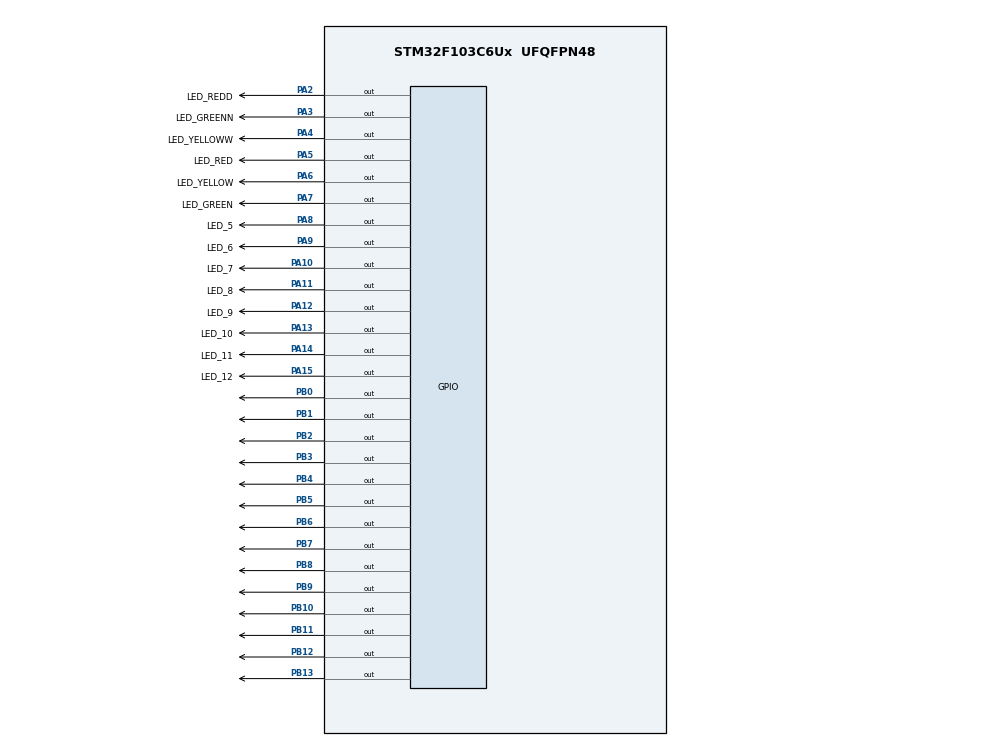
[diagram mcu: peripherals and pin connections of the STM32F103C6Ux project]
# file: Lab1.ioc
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Mcu.Family=STM32F1
Mcu.Name=STM32F103C6Ux
Mcu.Package=UFQFPN48
NVIC.PriorityGroup=NVIC_PRIORITYGROUP_4
PA10.GPIO_Label=LED_7
PA10.Signal=GPIO_Output
PA11.GPIO_Label=LED_8
PA11.Signal=GPIO_Output
PA12.GPIO_Label=LED_9
PA12.Signal=GPIO_Output
PA13.GPIO_Label=LED_10
PA13.Signal=GPIO_Output
PA14.GPIO_Label=LED_11
PA14.Signal=GPIO_Output
PA15.GPIO_Label=LED_12
PA15.Signal=GPIO_Output
PA2.GPIO_Label=LED_REDD
PA2.Signal=GPIO_Output
PA3.GPIO_Label=LED_GREENN
PA3.Signal=GPIO_Output
PA4.GPIO_Label=LED_YELLOWW
PA4.Signal=GPIO_Output
PA5.GPIO_Label=LED_RED
PA5.Signal=GPIO_Output
PA6.GPIO_Label=LED_YELLOW
PA6.Signal=GPIO_Output
PA7.GPIO_Label=LED_GREEN
PA7.Signal=GPIO_Output
PA8.GPIO_Label=LED_5
PA8.Signal=GPIO_Output
PA9.GPIO_Label=LED_6
PA9.Signal=GPIO_Output
PB0.Signal=GPIO_Output
PB1.Signal=GPIO_Output
PB10.Signal=GPIO_Output
PB11.Signal=GPIO_Output
PB12.Signal=GPIO_Output
PB13.Signal=GPIO_Output
PB2.Signal=GPIO_Output
PB3.Signal=GPIO_Output
PB4.Signal=GPIO_Output
PB5.Signal=GPIO_Output
PB6.Signal=GPIO_Output
PB7.Signal=GPIO_Output
PB8.Signal=GPIO_Output
PB9.Signal=GPIO_Output
ProjectManager.HeapSize=0x200
ProjectManager.StackSize=0x400
ProjectManager.TargetToolchain=STM32CubeIDE
RCC.APB1Freq_Value=8000000
RCC.APB2Freq_Value=8000000
VP_SYS_VS_ND.Mode=No_Debug
board=custom

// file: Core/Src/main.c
/* USER CODE BEGIN Header */
/**
  ******************************************************************************
  * @file           : main.c
  * @brief          : Main program body
  ******************************************************************************
  * @attention
  *
  * <h2><center>&copy; Copyright (c) 2022 STMicroelectronics.
  * All rights reserved.</center></h2>
  *
  * This software component is licensed by ST under BSD 3-Clause license,
  * the "License"; You may not use this file except in compliance with the
  * License. You may obtain a copy of the License at:
  *                        opensource.org/licenses/BSD-3-Clause
  *
  ******************************************************************************
  */
/* USER CODE END Header */
#include "main.h"

void SystemClock_Config(void);
static void MX_GPIO_Init(void);

void displaySeg7A(int count_time){
	switch(count_time){

		  case 1:{
			  HAL_GPIO_WritePin(GPIOB,GPIO_PIN_13,1);
			  HAL_GPIO_WritePin(GPIOB,GPIO_PIN_7,1);
			  HAL_GPIO_WritePin(GPIOB,GPIO_PIN_8,0);
			  HAL_GPIO_WritePin(GPIOB,GPIO_PIN_9,0);
			  HAL_GPIO_WritePin(GPIOB,GPIO_PIN_10,1);
			  HAL_GPIO_WritePin(GPIOB,GPIO_PIN_11,1);
			  HAL_GPIO_WritePin(GPIOB,GPIO_PIN_12,1);
			  break ;
		  	  };
		  case 2:{
			  HAL_GPIO_WritePin(GPIOB,GPIO_PIN_7,0);
			   HAL_GPIO_WritePin(GPIOB,GPIO_PIN_9,1);
			   HAL_GPIO_WritePin(GPIOB,GPIO_PIN_10,0);
			   HAL_GPIO_WritePin(GPIOB,GPIO_PIN_11,0);
			   HAL_GPIO_WritePin(GPIOB,GPIO_PIN_13,0);
			   HAL_GPIO_WritePin(GPIOB,GPIO_PIN_8,0);
			   HAL_GPIO_WritePin(GPIOB,GPIO_PIN_12,1);
			   break ;
		  };
		  case 3: {
			  HAL_GPIO_WritePin(GPIOB,GPIO_PIN_7,0);
			  HAL_GPIO_WritePin(GPIOB,GPIO_PIN_8,0);
			  HAL_GPIO_WritePin(GPIOB,GPIO_PIN_9,0);
			  HAL_GPIO_WritePin(GPIOB,GPIO_PIN_10,0);
			  HAL_GPIO_WritePin(GPIOB,GPIO_PIN_11,1);
			  HAL_GPIO_WritePin(GPIOB,GPIO_PIN_12,1);
			  HAL_GPIO_WritePin(GPIOB,GPIO_PIN_13,0);
			  break;
		  };
		  case 4:{
			  HAL_GPIO_WritePin(GPIOB,GPIO_PIN_7,1);
			  HAL_GPIO_WritePin(GPIOB,GPIO_PIN_8,0);
			  HAL_GPIO_WritePin(GPIOB,GPIO_PIN_9,0);
			  HAL_GPIO_WritePin(GPIOB,GPIO_PIN_10,1);
			  HAL_GPIO_WritePin(GPIOB,GPIO_PIN_11,1);
			  HAL_GPIO_WritePin(GPIOB,GPIO_PIN_12,0);
			  HAL_GPIO_WritePin(GPIOB,GPIO_PIN_13,0);
			  break;
		  };
		  case 5:{
			  HAL_GPIO_WritePin(GPIOB,GPIO_PIN_7,0);
			  HAL_GPIO_WritePin(GPIOB,GPIO_PIN_8,1);
			  HAL_GPIO_WritePin(GPIOB,GPIO_PIN_9,0);
			  HAL_GPIO_WritePin(GPIOB,GPIO_PIN_10,0);
			  HAL_GPIO_WritePin(GPIOB,GPIO_PIN_11,1);
			  HAL_GPIO_WritePin(GPIOB,GPIO_PIN_12,0);
			  HAL_GPIO_WritePin(GPIOB,GPIO_PIN_13,0);

			  break;
		  };
		  case 6:{
			  HAL_GPIO_WritePin(GPIOB,GPIO_PIN_7,0);
			  HAL_GPIO_WritePin(GPIOB,GPIO_PIN_8,1);
			  HAL_GPIO_WritePin(GPIOB,GPIO_PIN_9,0);
			  HAL_GPIO_WritePin(GPIOB,GPIO_PIN_10,0);
			  HAL_GPIO_WritePin(GPIOB,GPIO_PIN_11,0);
			  HAL_GPIO_WritePin(GPIOB,GPIO_PIN_12,0);
			  HAL_GPIO_WritePin(GPIOB,GPIO_PIN_13,0);
			  break;
		  };
		  case 7:{
			  HAL_GPIO_WritePin(GPIOB,GPIO_PIN_7,0);
			  HAL_GPIO_WritePin(GPIOB,GPIO_PIN_8,0);
			  HAL_GPIO_WritePin(GPIOB,GPIO_PIN_9,0);
			  HAL_GPIO_WritePin(GPIOB,GPIO_PIN_10,1);
			  HAL_GPIO_WritePin(GPIOB,GPIO_PIN_11,1);
			  HAL_GPIO_WritePin(GPIOB,GPIO_PIN_12,1);
			  HAL_GPIO_WritePin(GPIOB,GPIO_PIN_13,1);
			  break;
		  };
		  case 8:{
			  HAL_GPIO_WritePin(GPIOB,GPIO_PIN_7,0);
			  HAL_GPIO_WritePin(GPIOB,GPIO_PIN_8,0);
			  HAL_GPIO_WritePin(GPIOB,GPIO_PIN_9,0);
			  HAL_GPIO_WritePin(GPIOB,GPIO_PIN_10,0);
			  HAL_GPIO_WritePin(GPIOB,GPIO_PIN_11,0);
			  HAL_GPIO_WritePin(GPIOB,GPIO_PIN_12,0);
			  HAL_GPIO_WritePin(GPIOB,GPIO_PIN_13,0);
			 		  break;
		  };
		  case 9:{
			  HAL_GPIO_WritePin(GPIOB,GPIO_PIN_11,1);
			  HAL_GPIO_WritePin(GPIOB,GPIO_PIN_7,0);
			  HAL_GPIO_WritePin(GPIOB,GPIO_PIN_8,0);
			  HAL_GPIO_WritePin(GPIOB,GPIO_PIN_9,0);
			  HAL_GPIO_WritePin(GPIOB,GPIO_PIN_10,0);
			  HAL_GPIO_WritePin(GPIOB,GPIO_PIN_12,0);
			  HAL_GPIO_WritePin(GPIOB,GPIO_PIN_13,0);
			  count_time=-1;
			  break;
		  };
		  default:{
			  	  	  	  HAL_GPIO_WritePin(GPIOB,GPIO_PIN_7,0);
			 			  HAL_GPIO_WritePin(GPIOB,GPIO_PIN_8,0);
			 			  HAL_GPIO_WritePin(GPIOB,GPIO_PIN_9,0);
			 			  HAL_GPIO_WritePin(GPIOB,GPIO_PIN_10,0);
			 			  HAL_GPIO_WritePin(GPIOB,GPIO_PIN_11,0);
			 			  HAL_GPIO_WritePin(GPIOB,GPIO_PIN_12,0);
			 			  HAL_GPIO_WritePin(GPIOB,GPIO_PIN_13,0);
			 			  break;
		  }
		  };
}
void displaySeg7B(int count_time){
	switch(count_time){

		  case 1:{
			  HAL_GPIO_WritePin(GPIOB,GPIO_PIN_6,1);
			  HAL_GPIO_WritePin(GPIOB,GPIO_PIN_0,1);
			  HAL_GPIO_WritePin(GPIOB,GPIO_PIN_1,0);
			  HAL_GPIO_WritePin(GPIOB,GPIO_PIN_2,0);
			  HAL_GPIO_WritePin(GPIOB,GPIO_PIN_3,1);
			  HAL_GPIO_WritePin(GPIOB,GPIO_PIN_4,1);
			  HAL_GPIO_WritePin(GPIOB,GPIO_PIN_5,1);
			  break ;
		  	  };
		  case 2:{
			  HAL_GPIO_WritePin(GPIOB,GPIO_PIN_0,0);
			   HAL_GPIO_WritePin(GPIOB,GPIO_PIN_2,1);
			   HAL_GPIO_WritePin(GPIOB,GPIO_PIN_3,0);
			   HAL_GPIO_WritePin(GPIOB,GPIO_PIN_4,0);
			   HAL_GPIO_WritePin(GPIOB,GPIO_PIN_6,0);
			   HAL_GPIO_WritePin(GPIOB,GPIO_PIN_1,0);
			   HAL_GPIO_WritePin(GPIOB,GPIO_PIN_5,1);
			   break ;
		  };
		  case 3: {
			  HAL_GPIO_WritePin(GPIOB,GPIO_PIN_0,0);
			  HAL_GPIO_WritePin(GPIOB,GPIO_PIN_1,0);
			  HAL_GPIO_WritePin(GPIOB,GPIO_PIN_2,0);
			  HAL_GPIO_WritePin(GPIOB,GPIO_PIN_3,0);
			  HAL_GPIO_WritePin(GPIOB,GPIO_PIN_4,1);
			  HAL_GPIO_WritePin(GPIOB,GPIO_PIN_5,1);
			  HAL_GPIO_WritePin(GPIOB,GPIO_PIN_6,0);
			  break;
		  };
		  case 4:{
			  HAL_GPIO_WritePin(GPIOB,GPIO_PIN_0,1);
			  HAL_GPIO_WritePin(GPIOB,GPIO_PIN_1,0);
			  HAL_GPIO_WritePin(GPIOB,GPIO_PIN_2,0);
			  HAL_GPIO_WritePin(GPIOB,GPIO_PIN_3,1);
			  HAL_GPIO_WritePin(GPIOB,GPIO_PIN_4,1);
			  HAL_GPIO_WritePin(GPIOB,GPIO_PIN_5,0);
			  HAL_GPIO_WritePin(GPIOB,GPIO_PIN_6,0);
			  break;
		  };
		  case 5:{
			  HAL_GPIO_WritePin(GPIOB,GPIO_PIN_0,0);
			  HAL_GPIO_WritePin(GPIOB,GPIO_PIN_1,1);
			  HAL_GPIO_WritePin(GPIOB,GPIO_PIN_2,0);
			  HAL_GPIO_WritePin(GPIOB,GPIO_PIN_3,0);
			  HAL_GPIO_WritePin(GPIOB,GPIO_PIN_4,1);
			  HAL_GPIO_WritePin(GPIOB,GPIO_PIN_5,0);
			  HAL_GPIO_WritePin(GPIOB,GPIO_PIN_6,0);
			  break;
		  };
		  case 6:{
			  HAL_GPIO_WritePin(GPIOB,GPIO_PIN_0,0);
			  HAL_GPIO_WritePin(GPIOB,GPIO_PIN_1,1);
			  HAL_GPIO_WritePin(GPIOB,GPIO_PIN_2,0);
			  HAL_GPIO_WritePin(GPIOB,GPIO_PIN_3,0);
			  HAL_GPIO_WritePin(GPIOB,GPIO_PIN_4,0);
			  HAL_GPIO_WritePin(GPIOB,GPIO_PIN_5,0);
			  HAL_GPIO_WritePin(GPIOB,GPIO_PIN_6,0);
			  break;
		  };
		  case 7:{
			  HAL_GPIO_WritePin(GPIOB,GPIO_PIN_0,0);
			  HAL_GPIO_WritePin(GPIOB,GPIO_PIN_1,0);
			  HAL_GPIO_WritePin(GPIOB,GPIO_PIN_2,0);
			  HAL_GPIO_WritePin(GPIOB,GPIO_PIN_3,1);
			  HAL_GPIO_WritePin(GPIOB,GPIO_PIN_4,1);
			  HAL_GPIO_WritePin(GPIOB,GPIO_PIN_5,1);
			  HAL_GPIO_WritePin(GPIOB,GPIO_PIN_6,1);
			  break;
		  };
		  case 8:{
			  HAL_GPIO_WritePin(GPIOB,GPIO_PIN_0,0);
			  HAL_GPIO_WritePin(GPIOB,GPIO_PIN_1,0);
			  HAL_GPIO_WritePin(GPIOB,GPIO_PIN_2,0);
			  HAL_GPIO_WritePin(GPIOB,GPIO_PIN_3,0);
			  HAL_GPIO_WritePin(GPIOB,GPIO_PIN_4,0);
			  HAL_GPIO_WritePin(GPIOB,GPIO_PIN_5,0);
			  HAL_GPIO_WritePin(GPIOB,GPIO_PIN_6,0);
			 		  break;
		  };
		  case 9:{
			  HAL_GPIO_WritePin(GPIOB,GPIO_PIN_4,1);
			  HAL_GPIO_WritePin(GPIOB,GPIO_PIN_0,0);
			  HAL_GPIO_WritePin(GPIOB,GPIO_PIN_1,0);
			  HAL_GPIO_WritePin(GPIOB,GPIO_PIN_2,0);
			  HAL_GPIO_WritePin(GPIOB,GPIO_PIN_3,0);
			  HAL_GPIO_WritePin(GPIOB,GPIO_PIN_5,0);
			  HAL_GPIO_WritePin(GPIOB,GPIO_PIN_6,0);
			  count_time=-1;
			  break;
		  };

		  };
}
int main(void)
{

  /* MCU Configuration--------------------------------------------------------*/

  /* Reset of all peripherals, Initializes the Flash interface and the Systick. */
  HAL_Init();

  /* Configure the system clock */
  SystemClock_Config();

  /* Initialize all configured peripherals */
  MX_GPIO_Init();

  /* Infinite loop */
  /* USER CODE BEGIN WHILE */
  int STATUS_LED_X=0;
  int STATUS_LED_Y=1;
  int COUNT_LED_X=6;
  int COUNT_LED_Y=4;
  int TIME_RED=6;
  int TIME_GREEN=4;
  int TIME_YELLOW=3;
  while (1)
  {
	  if(STATUS_LED_X==0&&COUNT_LED_X==1){STATUS_LED_X++;COUNT_LED_X=TIME_GREEN;}
	  if(STATUS_LED_X==1&&COUNT_LED_X==1){STATUS_LED_X++;COUNT_LED_X=TIME_YELLOW;}
	  if(STATUS_LED_X==2&&COUNT_LED_X==1){STATUS_LED_X=0;COUNT_LED_X=TIME_RED;}
	  if(STATUS_LED_Y==1&&COUNT_LED_Y==1){STATUS_LED_Y=2;COUNT_LED_Y=TIME_YELLOW;}
	  if(STATUS_LED_Y==2&&COUNT_LED_Y==1){STATUS_LED_Y=0;COUNT_LED_Y=TIME_RED;}
	  if(STATUS_LED_Y==0&&COUNT_LED_Y==1){STATUS_LED_Y=1;COUNT_LED_Y=TIME_GREEN;}
	  if(STATUS_LED_X==0){
		  			  HAL_GPIO_WritePin( LED_YELLOW_GPIO_Port , LED_YELLOW_Pin,1);
		  			  HAL_GPIO_WritePin( LED_GREEN_GPIO_Port , LED_GREEN_Pin,1);
		  			  HAL_GPIO_WritePin( LED_RED_GPIO_Port , LED_RED_Pin,0);

	  }
	  if(STATUS_LED_X==1){
		  			  HAL_GPIO_WritePin( LED_YELLOW_GPIO_Port , LED_YELLOW_Pin,1);
		  			  HAL_GPIO_WritePin( LED_RED_GPIO_Port , LED_RED_Pin,1);
		  			  HAL_GPIO_WritePin( LED_GREEN_GPIO_Port , LED_GREEN_Pin,0);
	  }
	  if(STATUS_LED_X==2){
	  		  			  HAL_GPIO_WritePin( LED_YELLOW_GPIO_Port , LED_YELLOW_Pin,0);
	  		  			  HAL_GPIO_WritePin( LED_RED_GPIO_Port , LED_RED_Pin,1);
	  		  			  HAL_GPIO_WritePin( LED_GREEN_GPIO_Port , LED_GREEN_Pin,1);
	  	  }
	  if(STATUS_LED_Y==0){
	 	 		  			  HAL_GPIO_WritePin( LED_YELLOWW_GPIO_Port , LED_YELLOWW_Pin,1);
	 	 		  			  HAL_GPIO_WritePin( LED_REDD_GPIO_Port , LED_REDD_Pin,0);
	 	 		  			  HAL_GPIO_WritePin( LED_GREENN_GPIO_Port , LED_GREENN_Pin,1);
	 	 	  }
	  if(STATUS_LED_Y==1){
	 		  			  HAL_GPIO_WritePin( LED_YELLOWW_GPIO_Port , LED_YELLOWW_Pin,1);
	 		  			  HAL_GPIO_WritePin( LED_REDD_GPIO_Port , LED_REDD_Pin,1);
	 		  			  HAL_GPIO_WritePin( LED_GREENN_GPIO_Port , LED_GREENN_Pin,0);
	 	  }
	  if(STATUS_LED_Y==2){
	 	 		  			  HAL_GPIO_WritePin( LED_YELLOWW_GPIO_Port , LED_YELLOWW_Pin,0);
	 	 		  			  HAL_GPIO_WritePin( LED_REDD_GPIO_Port , LED_REDD_Pin,1);
	 	 		  			  HAL_GPIO_WritePin( LED_GREENN_GPIO_Port , LED_GREENN_Pin,1);
	 	 	  }

    /* USER CODE END WHILE */
	  COUNT_LED_X--;
	  COUNT_LED_Y--;
	  displaySeg7A(COUNT_LED_Y);
	  displaySeg7B(COUNT_LED_X);
    /* USER CODE BEGIN 3 */
	  	 HAL_Delay(1000);

  }
  /* USER CODE END 3 */
}

void SystemClock_Config(void)
{
  RCC_OscInitTypeDef RCC_OscInitStruct = {0};
  RCC_ClkInitTypeDef RCC_ClkInitStruct = {0};

  /** Initializes the RCC Oscillators according to the specified parameters
  * in the RCC_OscInitTypeDef structure.
  */
  RCC_OscInitStruct.OscillatorType = RCC_OSCILLATORTYPE_HSI;
  RCC_OscInitStruct.HSIState = RCC_HSI_ON;
  RCC_OscInitStruct.HSICalibrationValue = RCC_HSICALIBRATION_DEFAULT;
  RCC_OscInitStruct.PLL.PLLState = RCC_PLL_NONE;
  if (HAL_RCC_OscConfig(&RCC_OscInitStruct) != HAL_OK)
  {
    Error_Handler();
  }
  /** Initializes the CPU, AHB and APB buses clocks
  */
  RCC_ClkInitStruct.ClockType = RCC_CLOCKTYPE_HCLK|RCC_CLOCKTYPE_SYSCLK
                              |RCC_CLOCKTYPE_PCLK1|RCC_CLOCKTYPE_PCLK2;
  RCC_ClkInitStruct.SYSCLKSource = RCC_SYSCLKSOURCE_HSI;
  RCC_ClkInitStruct.AHBCLKDivider = RCC_SYSCLK_DIV1;
  RCC_ClkInitStruct.APB1CLKDivider = RCC_HCLK_DIV1;
  RCC_ClkInitStruct.APB2CLKDivider = RCC_HCLK_DIV1;

  if (HAL_RCC_ClockConfig(&RCC_ClkInitStruct, FLASH_LATENCY_0) != HAL_OK)
  {
    Error_Handler();
  }
}

static void MX_GPIO_Init(void)
{
  GPIO_InitTypeDef GPIO_InitStruct = {0};

  /* GPIO Ports Clock Enable */
  __HAL_RCC_GPIOA_CLK_ENABLE();
  __HAL_RCC_GPIOB_CLK_ENABLE();

  /*Configure GPIO pin Output Level */
  HAL_GPIO_WritePin(GPIOA, LED_REDD_Pin|LED_GREENN_Pin|LED_YELLOWW_Pin|LED_RED_Pin
                          |LED_YELLOW_Pin|LED_GREEN_Pin|LED_5_Pin|LED_6_Pin
                          |LED_7_Pin|LED_8_Pin|LED_9_Pin|LED_10_Pin
                          |LED_11_Pin|LED_12_Pin, GPIO_PIN_RESET);

  /*Configure GPIO pin Output Level */
  HAL_GPIO_WritePin(GPIOB, GPIO_PIN_0|GPIO_PIN_1|GPIO_PIN_2|GPIO_PIN_10
                          |GPIO_PIN_11|GPIO_PIN_12|GPIO_PIN_13|GPIO_PIN_3
                          |GPIO_PIN_4|GPIO_PIN_5|GPIO_PIN_6|GPIO_PIN_7
                          |GPIO_PIN_8|GPIO_PIN_9, GPIO_PIN_RESET);

  /*Configure GPIO pins : LED_REDD_Pin LED_GREENN_Pin LED_YELLOWW_Pin LED_RED_Pin
                           LED_YELLOW_Pin LED_GREEN_Pin LED_5_Pin LED_6_Pin
                           LED_7_Pin LED_8_Pin LED_9_Pin LED_10_Pin
                           LED_11_Pin LED_12_Pin */
  GPIO_InitStruct.Pin = LED_REDD_Pin|LED_GREENN_Pin|LED_YELLOWW_Pin|LED_RED_Pin
                          |LED_YELLOW_Pin|LED_GREEN_Pin|LED_5_Pin|LED_6_Pin
                          |LED_7_Pin|LED_8_Pin|LED_9_Pin|LED_10_Pin
                          |LED_11_Pin|LED_12_Pin;
  GPIO_InitStruct.Mode = GPIO_MODE_OUTPUT_PP;
  GPIO_InitStruct.Pull = GPIO_NOPULL;
  GPIO_InitStruct.Speed = GPIO_SPEED_FREQ_LOW;
  HAL_GPIO_Init(GPIOA, &GPIO_InitStruct);

  /*Configure GPIO pins : PB0 PB1 PB2 PB10
                           PB11 PB12 PB13 PB3
                           PB4 PB5 PB6 PB7
                           PB8 PB9 */
  GPIO_InitStruct.Pin = GPIO_PIN_0|GPIO_PIN_1|GPIO_PIN_2|GPIO_PIN_10
                          |GPIO_PIN_11|GPIO_PIN_12|GPIO_PIN_13|GPIO_PIN_3
                          |GPIO_PIN_4|GPIO_PIN_5|GPIO_PIN_6|GPIO_PIN_7
                          |GPIO_PIN_8|GPIO_PIN_9;
  GPIO_InitStruct.Mode = GPIO_MODE_OUTPUT_PP;
  GPIO_InitStruct.Pull = GPIO_NOPULL;
  GPIO_InitStruct.Speed = GPIO_SPEED_FREQ_LOW;
  HAL_GPIO_Init(GPIOB, &GPIO_InitStruct);

}

void Error_Handler(void)
{
  __disable_irq();
  while (1)
  {
  }
}

/************************ (C) COPYRIGHT STMicroelectronics *****END OF FILE****/
